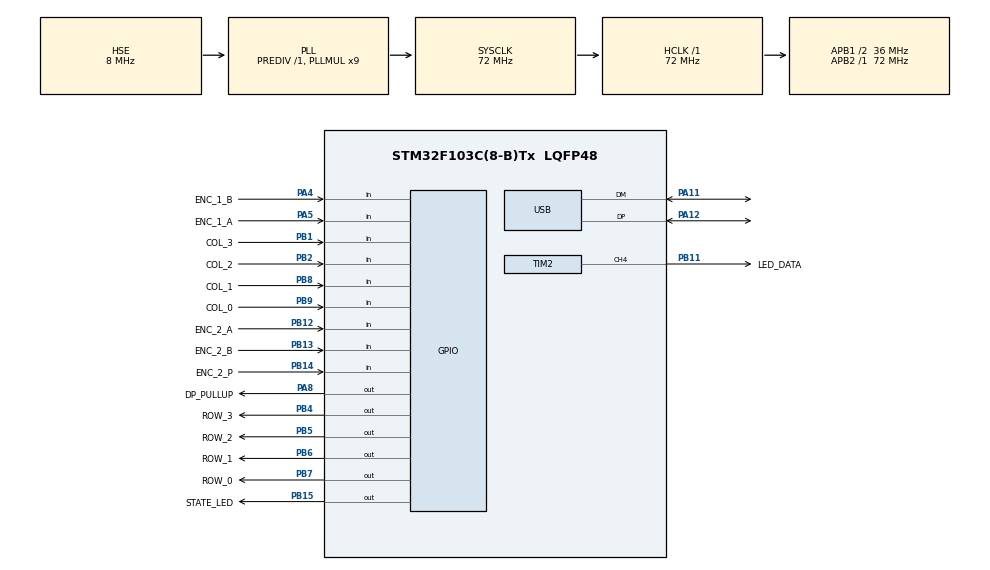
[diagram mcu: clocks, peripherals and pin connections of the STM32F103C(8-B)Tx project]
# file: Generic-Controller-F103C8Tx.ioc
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Dma.Request0=TIM2_CH2/CH4
Dma.TIM2_CH2/CH4.0.Direction=DMA_MEMORY_TO_PERIPH
Dma.TIM2_CH2/CH4.0.Instance=DMA1_Channel7
Dma.TIM2_CH2/CH4.0.MemDataAlignment=DMA_MDATAALIGN_HALFWORD
Dma.TIM2_CH2/CH4.0.MemInc=DMA_MINC_ENABLE
Dma.TIM2_CH2/CH4.0.Mode=DMA_CIRCULAR
Dma.TIM2_CH2/CH4.0.PeriphDataAlignment=DMA_PDATAALIGN_HALFWORD
Dma.TIM2_CH2/CH4.0.PeriphInc=DMA_PINC_DISABLE
Dma.TIM2_CH2/CH4.0.Priority=DMA_PRIORITY_LOW
Mcu.Family=STM32F1
Mcu.Name=STM32F103C(8-B)Tx
Mcu.Package=LQFP48
NVIC.DMA1_Channel7_IRQn=true\:0\:0\:false\:false\:true\:false\:true\:true
NVIC.PriorityGroup=NVIC_PRIORITYGROUP_4
PA0-WKUP.Mode=SYS_WakeUp0
PA0-WKUP.Signal=SYS_WKUP
PA11.Mode=Device
PA11.Signal=USB_DM
PA12.Mode=Device
PA12.Signal=USB_DP
PA13.Mode=Trace_Asynchronous_SW
PA13.Signal=SYS_JTMS-SWDIO
PA14.Mode=Trace_Asynchronous_SW
PA14.Signal=SYS_JTCK-SWCLK
PA4.GPIO_Label=ENC_1_B
PA4.GPIO_PuPd=GPIO_NOPULL
PA4.Signal=GPIO_Input
PA5.GPIO_Label=ENC_1_A
PA5.GPIO_PuPd=GPIO_NOPULL
PA5.Signal=GPIO_Input
PA8.GPIO_Label=DP_PULLUP
PA8.Signal=GPIO_Output
PB1.GPIO_Label=COL_3
PB1.Signal=GPIO_Input
PB11.GPIO_Label=LED_DATA
PB11.GPIO_ModeDefaultPP=GPIO_MODE_AF_OD
PB11.Signal=S_TIM2_CH4
PB12.GPIO_Label=ENC_2_A
PB12.GPIO_PuPd=GPIO_NOPULL
PB12.Signal=GPIO_Input
PB13.GPIO_Label=ENC_2_B
PB13.GPIO_PuPd=GPIO_NOPULL
PB13.Signal=GPIO_Input
PB14.GPIO_Label=ENC_2_P
PB14.GPIO_PuPd=GPIO_NOPULL
PB14.Signal=GPIO_Input
PB15.GPIO_Label=STATE_LED
PB15.GPIO_ModeDefaultOutputPP=GPIO_MODE_OUTPUT_OD
PB15.GPIO_PuPd=GPIO_NOPULL
PB15.Signal=GPIO_Output
PB2.GPIO_Label=COL_2
PB2.Signal=GPIO_Input
PB3.Mode=Trace_Asynchronous_SW
PB3.Signal=SYS_JTDO-TRACESWO
PB4.GPIO_Label=ROW_3
PB4.Signal=GPIO_Output
PB5.GPIO_Label=ROW_2
PB5.Signal=GPIO_Output
PB6.GPIO_Label=ROW_1
PB6.Signal=GPIO_Output
PB7.GPIO_Label=ROW_0
PB7.Signal=GPIO_Output
PB8.GPIO_Label=COL_1
PB8.GPIO_PuPd=GPIO_NOPULL
PB8.Signal=GPIO_Input
PB9.GPIO_Label=COL_0
PB9.GPIO_PuPd=GPIO_NOPULL
PB9.Signal=GPIO_Input
PD0-OSC_IN.Mode=HSE-External-Oscillator
PD0-OSC_IN.Signal=RCC_OSC_IN
PD1-OSC_OUT.Mode=HSE-External-Oscillator
PD1-OSC_OUT.Signal=RCC_OSC_OUT
ProjectManager.HeapSize=0x200
ProjectManager.StackSize=0x400
ProjectManager.TargetToolchain=STM32CubeIDE
RCC.AHBFreq_Value=72000000
RCC.APB1CLKDivider=RCC_HCLK_DIV2
RCC.APB1Freq_Value=36000000
RCC.APB1TimFreq_Value=72000000
RCC.APB2Freq_Value=72000000
RCC.APB2TimFreq_Value=72000000
RCC.HCLKFreq_Value=72000000
RCC.PLLMUL=RCC_PLL_MUL9
RCC.SYSCLKFreq_VALUE=72000000
RCC.SYSCLKSource=RCC_SYSCLKSOURCE_PLLCLK
RCC.USBFreq_Value=48000000
RCC.USBPrescaler=RCC_USBCLKSOURCE_PLL_DIV1_5
SH.S_TIM2_CH4.0=TIM2_CH4,PWM Generation4 CH4
TIM2.AutoReloadPreload=TIM_AUTORELOAD_PRELOAD_DISABLE
TIM2.Channel-PWM\ Generation4\ CH4=TIM_CHANNEL_4
TIM2.Period=90-1
TIM4.Prescaler=72-1
VP_TIM2_VS_ClockSourceINT.Mode=Internal
VP_TIM4_VS_ClockSourceINT.Mode=Internal
board=custom

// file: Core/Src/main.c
/* USER CODE BEGIN Header */
/**
  ******************************************************************************
  * @file           : main.c
  * @brief          : Main program body
  ******************************************************************************
  * @attention
  *
  * Copyright (c) 2023 STMicroelectronics.
  * All rights reserved.
  *
  * This software is licensed under terms that can be found in the LICENSE file
  * in the root directory of this software component.
  * If no LICENSE file comes with this software, it is provided AS-IS.
  *
  ******************************************************************************
  */
/* USER CODE END Header */
#include "main.h"
#include "dma.h"
#include "tim.h"
#include "usb.h"
#include "gpio.h"

/* USER CODE BEGIN Includes */

#include "usbd_hid_if.h"
#include "usbd_midi_if.h"
#include "binary_push_key.h"
#include "key_matrix.h"
#include "encoder.h"
#include "dial.h"
#include "pushable_dial.h"
#include "ws2812b.h"
#include <math.h>
#include "lighting_conf.h"
#include "inputs_conf.h"
#include <stdlib.h>
#include "flash_conf.h"

/* USER CODE END Includes */

void SystemClock_Config(void);

int main(void)
{

  /* MCU Configuration--------------------------------------------------------*/

  /* Reset of all peripherals, Initializes the Flash interface and the Systick. */
  HAL_Init();

  /* Configure the system clock */
  SystemClock_Config();

  /* Initialize all configured peripherals */
  MX_GPIO_Init();
  MX_DMA_Init();
  MX_TIM2_Init();
  MX_TIM4_Init();
  /* USER CODE BEGIN 2 */

  MX_USB_DEVICE_Init();

  if (HAL_GPIO_ReadPin(ENC_2_P_GPIO_Port, ENC_2_P_Pin) == GPIO_PIN_RESET) {
    // skip config loading, wait for release
    while (HAL_GPIO_ReadPin(ENC_2_P_GPIO_Port, ENC_2_P_Pin) == GPIO_PIN_RESET);
  } else {
    FlashConfig_Load();
  }

  Inputs_Init();
  Lighting_Init();

  // Enable USB
  HAL_GPIO_WritePin(DP_PULLUP_GPIO_Port, DP_PULLUP_Pin, GPIO_PIN_SET);

  // Turn STATE_LED off
  HAL_GPIO_WritePin(STATE_LED_GPIO_Port, STATE_LED_Pin, GPIO_PIN_SET);

  /* USER CODE END 2 */

  /* Infinite loop */
  while (1)
  {

    /* USER CODE BEGIN 3 */

    Inputs_Scan();
    Lighting_PushUpdate();
  }
  /* USER CODE END 3 */
}

void SystemClock_Config(void)
{
  RCC_OscInitTypeDef RCC_OscInitStruct = {0};
  RCC_ClkInitTypeDef RCC_ClkInitStruct = {0};
  RCC_PeriphCLKInitTypeDef PeriphClkInit = {0};

  /** Initializes the RCC Oscillators according to the specified parameters
  * in the RCC_OscInitTypeDef structure.
  */
  RCC_OscInitStruct.OscillatorType = RCC_OSCILLATORTYPE_HSE;
  RCC_OscInitStruct.HSEState = RCC_HSE_ON;
  RCC_OscInitStruct.HSEPredivValue = RCC_HSE_PREDIV_DIV1;
  RCC_OscInitStruct.HSIState = RCC_HSI_ON;
  RCC_OscInitStruct.PLL.PLLState = RCC_PLL_ON;
  RCC_OscInitStruct.PLL.PLLSource = RCC_PLLSOURCE_HSE;
  RCC_OscInitStruct.PLL.PLLMUL = RCC_PLL_MUL9;
  if (HAL_RCC_OscConfig(&RCC_OscInitStruct) != HAL_OK)
  {
    Error_Handler();
  }

  /** Initializes the CPU, AHB and APB buses clocks
  */
  RCC_ClkInitStruct.ClockType = RCC_CLOCKTYPE_HCLK|RCC_CLOCKTYPE_SYSCLK
                              |RCC_CLOCKTYPE_PCLK1|RCC_CLOCKTYPE_PCLK2;
  RCC_ClkInitStruct.SYSCLKSource = RCC_SYSCLKSOURCE_PLLCLK;
  RCC_ClkInitStruct.AHBCLKDivider = RCC_SYSCLK_DIV1;
  RCC_ClkInitStruct.APB1CLKDivider = RCC_HCLK_DIV2;
  RCC_ClkInitStruct.APB2CLKDivider = RCC_HCLK_DIV1;

  if (HAL_RCC_ClockConfig(&RCC_ClkInitStruct, FLASH_LATENCY_2) != HAL_OK)
  {
    Error_Handler();
  }
  PeriphClkInit.PeriphClockSelection = RCC_PERIPHCLK_USB;
  PeriphClkInit.UsbClockSelection = RCC_USBCLKSOURCE_PLL_DIV1_5;
  if (HAL_RCCEx_PeriphCLKConfig(&PeriphClkInit) != HAL_OK)
  {
    Error_Handler();
  }
}

void Error_Handler(void)
{
  /* USER CODE BEGIN Error_Handler_Debug */
  /* User can add his own implementation to report the HAL error return state */
  __disable_irq();

  // Turn STATE_LED on
  HAL_GPIO_WritePin(STATE_LED_GPIO_Port, STATE_LED_Pin, GPIO_PIN_RESET);

  while (1)
  {
  }
  /* USER CODE END Error_Handler_Debug */
}
